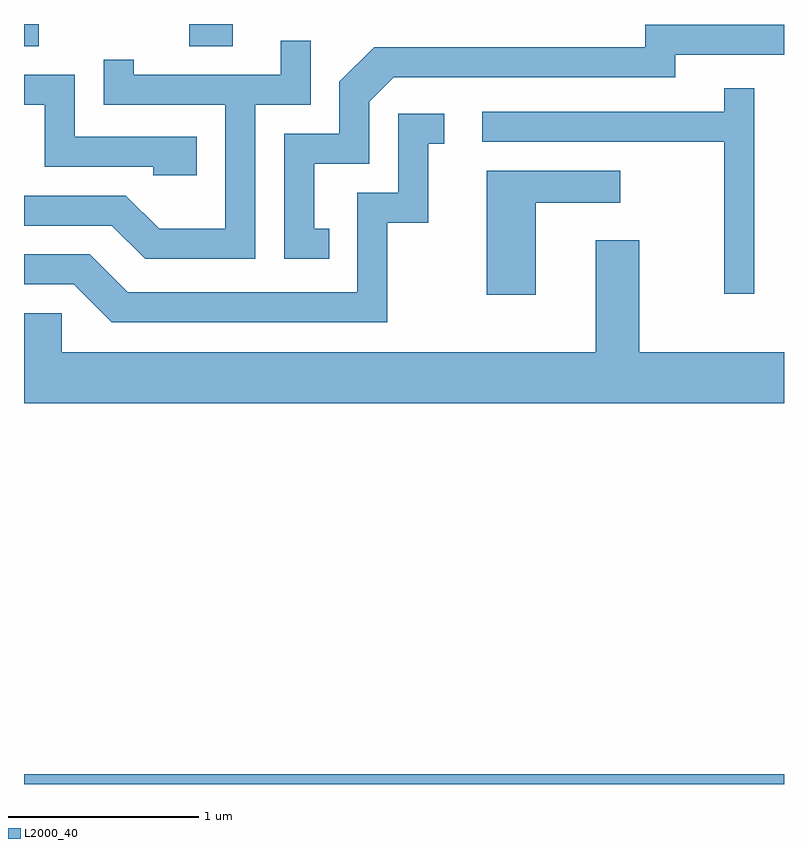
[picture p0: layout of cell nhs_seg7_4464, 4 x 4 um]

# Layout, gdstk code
import gdstk
lib = gdstk.Library(unit=1e-6, precision=1e-09)
def R(c, l, rs):  # rectangles x0, y0, x1, y1
    for r in rs: c.add(gdstk.rectangle(r[:2], r[2:], *l))
def P(c, l, *ps):  # polygons
    for p in ps: c.add(gdstk.Polygon(p, *l))
L2000_40 = (2000, 40)

nhs_seg7_4464 = lib.new_cell('nhs_seg7_4464')
R(nhs_seg7_4464, L2000_40, [(321.611,1772.252,325.611,1772.304), (321.611,1776.136,321.689,1776.252), (322.481,1776.136,322.709,1776.252)])
P(nhs_seg7_4464, L2000_40, [(323.218,1775.174),(323.139,1775.174),(323.139,1775.516),(323.429,1775.516),(323.429,1775.844),(323.557,1775.971),(325.039,1775.971),(325.039,1776.091),(325.611,1776.091),(325.611,1776.249),(324.881,1776.249),(324.881,1776.129),(323.454,1776.129),(323.271,1775.947),(323.271,1775.674),(322.981,1775.674),(322.981,1775.016),(323.218,1775.016)],
  [(322.829,1775.826),(323.119,1775.826),(323.119,1776.163),(322.961,1776.163),(322.961,1775.984),(322.189,1775.984),(322.189,1776.063),(322.031,1776.063),(322.031,1775.826),(322.671,1775.826),(322.671,1775.174),(322.322,1775.174),(322.147,1775.349),(321.611,1775.349),(321.611,1775.191),(322.074,1775.191),(322.249,1775.016),(322.829,1775.016)],
  [(322.519,1775.659),(321.879,1775.659),(321.879,1775.984),(321.611,1775.984),(321.611,1775.826),(321.721,1775.826),(321.721,1775.501),(322.291,1775.501),(322.291,1775.456),(322.519,1775.456)],
  [(325.454,1775.913),(325.296,1775.913),(325.296,1775.789),(324.023,1775.789),(324.023,1775.631),(325.296,1775.631),(325.296,1774.833),(325.454,1774.833)],
  [(323.524,1775.206),(323.739,1775.206),(323.739,1775.621),(323.823,1775.621),(323.823,1775.779),(323.581,1775.779),(323.581,1775.364),(323.366,1775.364),(323.366,1774.839),(322.157,1774.839),(321.957,1775.039),(321.611,1775.039),(321.611,1774.881),(321.874,1774.881),(322.074,1774.681),(323.524,1774.681)],
  [(324.304,1775.311),(324.748,1775.311),(324.748,1775.479),(324.046,1775.479),(324.046,1774.826),(324.304,1774.826)],
  [(325.611,1774.524),(324.849,1774.524),(324.849,1775.114),(324.621,1775.114),(324.621,1774.524),(321.809,1774.524),(321.809,1774.729),(321.611,1774.729),(321.611,1774.256),(325.611,1774.256)])

lib.write_gds('nhs_seg7_4464.gds')
